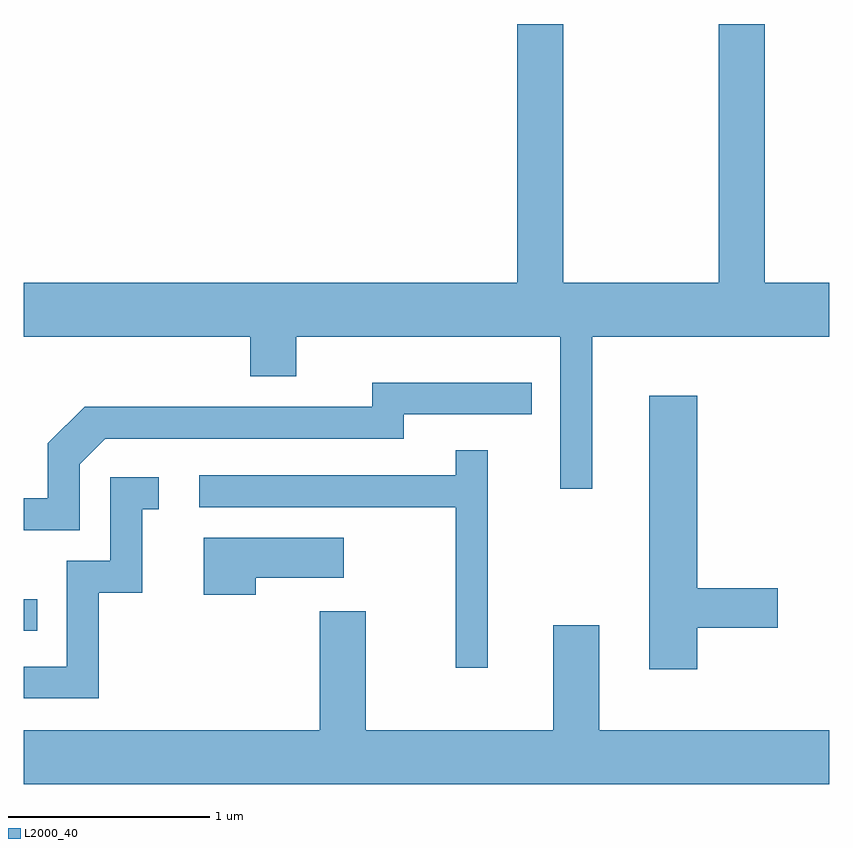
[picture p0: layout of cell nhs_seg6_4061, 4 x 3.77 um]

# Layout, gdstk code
import gdstk
lib = gdstk.Library(unit=1e-6, precision=1e-09)
def R(c, l, rs):  # rectangles x0, y0, x1, y1
    for r in rs: c.add(gdstk.rectangle(r[:2], r[2:], *l))
def P(c, l, *ps):  # polygons
    for p in ps: c.add(gdstk.Polygon(p, *l))
L2000_40 = (2000, 40)

nhs_seg6_4061 = lib.new_cell('nhs_seg6_4061')
R(nhs_seg6_4061, L2000_40, [(307.611,1655.136,307.678,1655.294)])
P(nhs_seg6_4061, L2000_40, [(310.434,1656.596),(311.611,1656.596),(311.611,1656.864),(311.289,1656.864),(311.289,1658.149),(311.061,1658.149),(311.061,1656.864),(310.289,1656.864),(310.289,1658.149),(310.061,1658.149),(310.061,1656.864),(307.611,1656.864),(307.611,1656.596),(308.736,1656.596),(308.736,1656.401),(308.964,1656.401),(308.964,1656.596),(310.276,1656.596),(310.276,1655.843),(310.434,1655.843)],
  [(307.889,1655.964),(308.017,1656.091),(309.499,1656.091),(309.499,1656.211),(310.133,1656.211),(310.133,1656.369),(309.341,1656.369),(309.341,1656.249),(307.914,1656.249),(307.731,1656.067),(307.731,1655.794),(307.611,1655.794),(307.611,1655.636),(307.889,1655.636)],
  [(310.954,1655.151),(311.354,1655.151),(311.354,1655.349),(310.954,1655.349),(310.954,1656.304),(310.716,1656.304),(310.716,1654.946),(310.954,1654.946)],
  [(309.914,1656.033),(309.756,1656.033),(309.756,1655.909),(308.483,1655.909),(308.483,1655.751),(309.756,1655.751),(309.756,1654.953),(309.914,1654.953)],
  [(307.984,1655.326),(308.199,1655.326),(308.199,1655.741),(308.283,1655.741),(308.283,1655.899),(308.041,1655.899),(308.041,1655.484),(307.826,1655.484),(307.826,1654.959),(307.611,1654.959),(307.611,1654.801),(307.984,1654.801)],
  [(308.764,1655.401),(309.199,1655.401),(309.199,1655.599),(308.506,1655.599),(308.506,1655.316),(308.764,1655.316)],
  [(311.611,1654.644),(310.469,1654.644),(310.469,1655.164),(310.241,1655.164),(310.241,1654.644),(309.309,1654.644),(309.309,1655.234),(309.081,1655.234),(309.081,1654.644),(307.611,1654.644),(307.611,1654.376),(311.611,1654.376)])

lib.write_gds('nhs_seg6_4061.gds')
